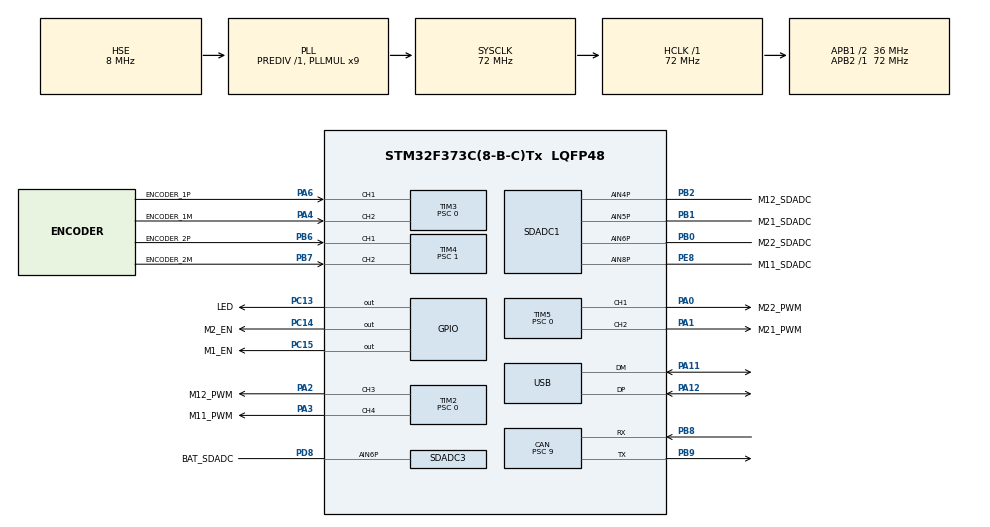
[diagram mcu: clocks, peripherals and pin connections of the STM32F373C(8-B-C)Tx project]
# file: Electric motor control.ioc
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CAN.BS1=CAN_BS1_13TQ
CAN.BS2=CAN_BS2_2TQ
CAN.CalculateTimeQuantum=250.0
CAN.Mode=CAN_MODE_NORMAL
CAN.NART=ENABLE
CAN.Prescaler=9
CAN.SJW=CAN_SJW_2TQ
Dma.Request0=SDADC1
Dma.Request1=SDADC3
Dma.SDADC1.0.Direction=DMA_PERIPH_TO_MEMORY
Dma.SDADC1.0.Instance=DMA2_Channel3
Dma.SDADC1.0.MemDataAlignment=DMA_MDATAALIGN_HALFWORD
Dma.SDADC1.0.MemInc=DMA_MINC_ENABLE
Dma.SDADC1.0.Mode=DMA_CIRCULAR
Dma.SDADC1.0.PeriphDataAlignment=DMA_PDATAALIGN_HALFWORD
Dma.SDADC1.0.PeriphInc=DMA_PINC_DISABLE
Dma.SDADC1.0.Priority=DMA_PRIORITY_LOW
Dma.SDADC3.1.Direction=DMA_PERIPH_TO_MEMORY
Dma.SDADC3.1.Instance=DMA2_Channel5
Dma.SDADC3.1.MemDataAlignment=DMA_MDATAALIGN_HALFWORD
Dma.SDADC3.1.MemInc=DMA_MINC_ENABLE
Dma.SDADC3.1.Mode=DMA_NORMAL
Dma.SDADC3.1.PeriphDataAlignment=DMA_PDATAALIGN_HALFWORD
Dma.SDADC3.1.PeriphInc=DMA_PINC_DISABLE
Dma.SDADC3.1.Priority=DMA_PRIORITY_MEDIUM
FREERTOS.HEAP_NUMBER=4
FREERTOS.Tasks01=defaultTask,0,128,StartDefaultTask,As weak,NULL,Dynamic,NULL,NULL;cliTask,-2,1024,cliStartTask,As weak,NULL,Dynamic,NULL,NULL;pidTask,-1,2048,pidStartTask,As weak,NULL,Dynamic,NULL,NULL;ParserCANTask,-2,256,StartParserCANTask,As weak,NULL,Dynamic,NULL,NULL;CANTxTask,-2,256,StartCANTxTask,As weak,NULL,Dynamic,NULL,NULL;SDADC_Handler,-2,256,StartSDADC_Handler,As weak,NULL,Dynamic,NULL,NULL
FREERTOS.configGENERATE_RUN_TIME_STATS=1
FREERTOS.configTOTAL_HEAP_SIZE=20480
FREERTOS.configUSE_STATS_FORMATTING_FUNCTIONS=1
FREERTOS.configUSE_TRACE_FACILITY=1
Mcu.Family=STM32F3
Mcu.Name=STM32F373C(8-B-C)Tx
Mcu.Package=LQFP48
NVIC.CAN_RX0_IRQn=true\:5\:0\:true\:false\:true\:true\:true\:true
NVIC.DMA2_Channel3_IRQn=true\:5\:0\:false\:false\:true\:true\:false\:true
NVIC.DMA2_Channel5_IRQn=true\:5\:0\:false\:false\:true\:true\:false\:true
NVIC.PriorityGroup=NVIC_PRIORITYGROUP_4
NVIC.TIM17_IRQn=true\:10\:0\:true\:false\:true\:true\:true\:true
NVIC.TIM18_DAC2_IRQn=true\:10\:0\:true\:false\:true\:true\:true\:true
NVIC.TIM6_DAC1_IRQn=true\:0\:0\:false\:false\:true\:false\:false\:true
NVIC.TIM7_IRQn=true\:5\:0\:false\:false\:true\:true\:true\:true
NVIC.TimeBase=TIM6_DAC1_IRQn
NVIC.TimeBaseIP=TIM6
NVIC.USB_LP_IRQn=true\:15\:0\:true\:false\:true\:true\:false\:true
PA0.GPIO_Label=M22_PWM
PA0.Signal=S_TIM5_CH1_ETR
PA1.GPIO_Label=M21_PWM
PA1.Signal=S_TIM5_CH2
PA11.Mode=Device
PA11.Signal=USB_DM
PA12.Mode=Device
PA12.Signal=USB_DP
PA13.Mode=Serial_Wire
PA13.Signal=SYS_JTMS-SWDIO
PA14.Mode=Serial_Wire
PA14.Signal=SYS_JTCK-SWCLK
PA2.GPIO_Label=M12_PWM
PA2.Signal=S_TIM2_CH3
PA3.GPIO_Label=M11_PWM
PA3.Signal=S_TIM2_CH4
PA4.GPIO_Label=ENCODER_1M
PA4.Signal=S_TIM3_CH2
PA6.GPIO_Label=ENCODER_1P
PA6.Signal=S_TIM3_CH1
PB0.GPIO_Label=M22_SDADC
PB0.Mode=IN6-Single-Ended
PB0.Signal=SDADC1_AIN6P
PB1.GPIO_Label=M21_SDADC
PB1.Mode=IN5-Single-Ended
PB1.Signal=SDADC1_AIN5P
PB2.GPIO_Label=M12_SDADC
PB2.Mode=IN4-Single-Ended
PB2.Signal=SDADC1_AIN4P
PB6.GPIO_Label=ENCODER_2P
PB6.GPIO_PuPd=GPIO_NOPULL
PB6.Signal=S_TIM4_CH1
PB7.GPIO_Label=ENCODER_2M
PB7.GPIO_PuPd=GPIO_NOPULL
PB7.Signal=S_TIM4_CH2
PB8.Mode=Master
PB8.Signal=CAN_RX
PB9.Mode=Master
PB9.Signal=CAN_TX
PC13.GPIO_Label=LED
PC13.Signal=GPIO_Output
PC14-OSC32_IN.GPIO_Label=M2_EN
PC14-OSC32_IN.GPIO_Speed=GPIO_SPEED_FREQ_LOW
PC14-OSC32_IN.Signal=GPIO_Output
PC15-OSC32_OUT.GPIO_Label=M1_EN
PC15-OSC32_OUT.Signal=GPIO_Output
PD8.GPIO_Label=BAT_SDADC
PD8.Mode=IN6-Single-Ended
PD8.Signal=SDADC3_AIN6P
PE8.GPIO_Label=M11_SDADC
PE8.Mode=IN8-Single-Ended
PE8.Signal=SDADC1_AIN8P
PF0-OSC_IN.Mode=HSE-External-Oscillator
PF0-OSC_IN.Signal=RCC_OSC_IN
PF1-OSC_OUT.Mode=HSE-External-Oscillator
PF1-OSC_OUT.Signal=RCC_OSC_OUT
ProjectManager.HeapSize=0x200
ProjectManager.StackSize=0x400
ProjectManager.TargetToolchain=EWARM V8.32
RCC.AHBFreq_Value=72000000
RCC.APB1CLKDivider=RCC_HCLK_DIV2
RCC.APB1Freq_Value=36000000
RCC.APB1TimFreq_Value=72000000
RCC.APB2Freq_Value=72000000
RCC.APB2TimFreq_Value=72000000
RCC.CortexFreq_Value=72000000
RCC.HCLKFreq_Value=72000000
RCC.HSE_VALUE=8000000
RCC.HSI_VALUE=8000000
RCC.LSE_VALUE=32768
RCC.PLLMUL=RCC_PLL_MUL9
RCC.PRESCALERUSB=RCC_USBCLKSOURCE_PLL_DIV1_5
RCC.SDADCPresc=RCC_SDADCSYSCLK_DIV12
RCC.SYSCLKFreq_VALUE=72000000
RCC.SYSCLKSource=RCC_SYSCLKSOURCE_PLLCLK
RCC.USBFreq_Value=48000000
SDADC1.EnableInjectedConversion=ENABLE
SDADC1.EnableRegularconversion=DISABLE
SDADC1.Gain0=SDADC_GAIN_1
SDADC1.InjDelay=Disable
SDADC1.InjNumberOfConversion=2
SDADC1.InjectedChannel-5\#ChannelInjectedConversion=SDADC_CHANNEL_5
SDADC1.InjectedChannel-6\#ChannelInjectedConversion=SDADC_CHANNEL_6
SDADC1.InjectedChannelsSelection=SDADC_CHANNEL_5|SDADC_CHANNEL_6
SDADC1.InjectedConfIndex-5\#ChannelInjectedConversion=SDADC_CONF_INDEX_0
SDADC1.InjectedConfIndex-6\#ChannelInjectedConversion=SDADC_CONF_INDEX_0
SDADC1.InjectedContinuousMode=SDADC_CONTINUOUS_CONV_ON
SDADC1.InjectedRank-5\#ChannelInjectedConversion=1
SDADC1.InjectedRank-6\#ChannelInjectedConversion=2
SDADC1.InputMode0=SDADC_INPUT_MODE_SE_OFFSET
SDADC1.NbrOfConversionFlag=1
SDADC3.EnableInjectedConversion=ENABLE
SDADC3.Gain0=SDADC_GAIN_1_2
SDADC3.InjNumberOfConversion=1
SDADC3.InjectedChannel-1\#ChannelInjectedConversion=SDADC_CHANNEL_6
SDADC3.InjectedChannelsSelection=SDADC_CHANNEL_6
SDADC3.InjectedConfIndex-1\#ChannelInjectedConversion=SDADC_CONF_INDEX_0
SDADC3.InjectedContinuousMode=SDADC_CONTINUOUS_CONV_ON
SDADC3.InjectedRank-1\#ChannelInjectedConversion=1
SDADC3.InjectedTrigger=SDADC_SOFTWARE_TRIGGER
SDADC3.InputMode0=SDADC_INPUT_MODE_SE_OFFSET
SDADC3.NbrOfConversionFlag=1
SDADC3.ReferenceVoltage=SDADC_VREF_EXT
SH.S_TIM2_CH3.0=TIM2_CH3,PWM Generation3 CH3
SH.S_TIM2_CH4.0=TIM2_CH4,PWM Generation4 CH4
SH.S_TIM3_CH1.0=TIM3_CH1,Encoder_Interface
SH.S_TIM3_CH2.0=TIM3_CH2,Encoder_Interface
SH.S_TIM4_CH1.0=TIM4_CH1,Encoder_Interface
SH.S_TIM4_CH2.0=TIM4_CH2,Encoder_Interface
SH.S_TIM5_CH1_ETR.0=TIM5_CH1,PWM Generation1 CH1
SH.S_TIM5_CH2.0=TIM5_CH2,PWM Generation2 CH2
TIM17.Period=65500
TIM17.Prescaler=719
TIM18.Period=65500
TIM18.Prescaler=719
TIM2.Channel-PWM\ Generation3\ CH3=TIM_CHANNEL_3
TIM2.Channel-PWM\ Generation4\ CH4=TIM_CHANNEL_4
TIM2.OCFastMode_PWM-PWM\ Generation3\ CH3=TIM_OCFAST_ENABLE
TIM2.OCFastMode_PWM-PWM\ Generation4\ CH4=TIM_OCFAST_ENABLE
TIM2.OCPolarity_3=TIM_OCPOLARITY_LOW
TIM2.OCPolarity_4=TIM_OCPOLARITY_LOW
TIM2.Period=71999
TIM2.Prescaler=0
TIM3.Period=32000
TIM3.Prescaler=0
TIM4.CounterMode=TIM_COUNTERMODE_UP
TIM4.IC1Filter=5
TIM4.IC1Prescaler=TIM_ICPSC_DIV1
TIM4.IC2Filter=5
TIM4.IC2Prescaler=TIM_ICPSC_DIV1
TIM4.Period=0xFFFF
TIM4.Prescaler=1
TIM5.Channel-PWM\ Generation1\ CH1=TIM_CHANNEL_1
TIM5.Channel-PWM\ Generation2\ CH2=TIM_CHANNEL_2
TIM5.OCFastMode_PWM-PWM\ Generation1\ CH1=TIM_OCFAST_ENABLE
TIM5.OCFastMode_PWM-PWM\ Generation2\ CH2=TIM_OCFAST_ENABLE
TIM5.OCPolarity_1=TIM_OCPOLARITY_LOW
TIM5.OCPolarity_2=TIM_OCPOLARITY_LOW
TIM5.Period=71999
TIM5.Prescaler=0
TIM7.Period=10
TIM7.Prescaler=359
USB_DEVICE.CLASS_NAME_FS=CDC
USB_DEVICE.VirtualMode=Cdc
USB_DEVICE.VirtualModeFS=Cdc_FS
VP_FREERTOS_VS_CMSIS_V1.Mode=CMSIS_V1
VP_SDADC1_CONF0.Mode=ConfigZero
VP_SDADC3_CONF0.Mode=ConfigZero
VP_SYS_VS_tim6.Mode=TIM6
VP_TIM17_VS_ClockSourceINT.Mode=Enable_Timer
VP_TIM18_VS_ClockSourceINT.Mode=Enable_Timer
VP_TIM2_VS_ClockSourceINT.Mode=Internal
VP_TIM5_VS_ClockSourceINT.Mode=Internal
VP_TIM7_VS_ClockSourceINT.Mode=Enable_Timer
VP_USB_DEVICE_VS_USB_DEVICE_CDC_FS.Mode=CDC_FS
board=custom

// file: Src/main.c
/* USER CODE BEGIN Header */
/**
  ******************************************************************************
  * @file           : main.c
  * @brief          : Main program body
  ******************************************************************************
  * @attention
  *
  * <h2><center>&copy; Copyright (c) 2020 STMicroelectronics.
  * All rights reserved.</center></h2>
  *
  * This software component is licensed by ST under Ultimate Liberty license
  * SLA0044, the "License"; You may not use this file except in compliance with
  * the License. You may obtain a copy of the License at:
  *                             www.st.com/SLA0044
  *
  ******************************************************************************
  */
/* USER CODE END Header */

#include "main.h"
#include "cmsis_os.h"
#include "usb_device.h"

/* USER CODE BEGIN Includes */
#include "cli.h"
#include "MotorDC.h"
#include "encoder.h"
#include "vbat.h"
#include "pid.h"
/* USER CODE END Includes */

CAN_HandleTypeDef hcan;

SDADC_HandleTypeDef hsdadc1;
SDADC_HandleTypeDef hsdadc3;
DMA_HandleTypeDef hdma_sdadc1;
DMA_HandleTypeDef hdma_sdadc3;

TIM_HandleTypeDef htim2;
TIM_HandleTypeDef htim3;
TIM_HandleTypeDef htim4;
TIM_HandleTypeDef htim5;
TIM_HandleTypeDef htim7;
TIM_HandleTypeDef htim17;
TIM_HandleTypeDef htim18;

osThreadId defaultTaskHandle;
osThreadId cliTaskHandle;
osThreadId pidTaskHandle;
osThreadId ParserCANTaskHandle;
osThreadId CANTxTaskHandle;
osThreadId SDADC_HandlerHandle;
/* USER CODE BEGIN PV */
MotorDCTypeDef MotorRoll;
MotorDCTypeDef MotorPitch;
EncTypeDef EncRoll;
EncTypeDef EncPitch;
vbatTypeDef vbat;
volatile pidTypeDef pidPitch;
volatile pidTypeDef pidRoll;

volatile unsigned long ulHighFrequencyTimerTicks;
/* USER CODE END PV */

void SystemClock_Config(void);
static void MX_GPIO_Init(void);
static void MX_DMA_Init(void);
static void MX_CAN_Init(void);
static void MX_SDADC1_Init(void);
static void MX_SDADC3_Init(void);
static void MX_TIM2_Init(void);
static void MX_TIM3_Init(void);
static void MX_TIM4_Init(void);
static void MX_TIM5_Init(void);
static void MX_TIM7_Init(void);
static void MX_TIM18_Init(void);
static void MX_TIM17_Init(void);
void StartDefaultTask(void const * argument);
void cliStartTask(void const * argument);
void pidStartTask(void const * argument);
void StartParserCANTask(void const * argument);
void StartCANTxTask(void const * argument);
void StartSDADC_Handler(void const * argument);

/* USER CODE BEGIN PFP */
static void MotorDC_Init(void);
static void Encoder_Init(void);
static void VBAT_Init(void);
static void pid_Init(void);
/* USER CODE END PFP */

int main(void)
{

  /* MCU Configuration--------------------------------------------------------*/

  /* Reset of all peripherals, Initializes the Flash interface and the Systick. */
  HAL_Init();

  /* Configure the system clock */
  SystemClock_Config();

  /* Initialize all configured peripherals */
  MX_GPIO_Init();
  MX_DMA_Init();
  MX_CAN_Init();
  MX_SDADC1_Init();
  MX_SDADC3_Init();
  MX_TIM2_Init();
  MX_TIM3_Init();
  MX_TIM4_Init();
  MX_TIM5_Init();
  MX_TIM7_Init();
  MX_TIM18_Init();
  MX_TIM17_Init();
  /* USER CODE BEGIN 2 */
  MotorDC_Init();
  Encoder_Init();
  VBAT_Init();
  pid_Init();

  HAL_TIM_Base_Start_IT(&htim7); // Таймер для счета занятости задачами процессорного времени
  /* USER CODE END 2 */

  /* Create the thread(s) */
  /* definition and creation of defaultTask */
  osThreadDef(defaultTask, StartDefaultTask, osPriorityNormal, 0, 128);
  defaultTaskHandle = osThreadCreate(osThread(defaultTask), NULL);

  /* definition and creation of cliTask */
  osThreadDef(cliTask, cliStartTask, osPriorityLow, 0, 1024);
  cliTaskHandle = osThreadCreate(osThread(cliTask), NULL);

  /* definition and creation of pidTask */
  osThreadDef(pidTask, pidStartTask, osPriorityBelowNormal, 0, 2048);
  pidTaskHandle = osThreadCreate(osThread(pidTask), NULL);

  /* definition and creation of ParserCANTask */
  osThreadDef(ParserCANTask, StartParserCANTask, osPriorityLow, 0, 256);
  ParserCANTaskHandle = osThreadCreate(osThread(ParserCANTask), NULL);

  /* definition and creation of CANTxTask */
  osThreadDef(CANTxTask, StartCANTxTask, osPriorityLow, 0, 256);
  CANTxTaskHandle = osThreadCreate(osThread(CANTxTask), NULL);

  /* definition and creation of SDADC_Handler */
  osThreadDef(SDADC_Handler, StartSDADC_Handler, osPriorityLow, 0, 256);
  SDADC_HandlerHandle = osThreadCreate(osThread(SDADC_Handler), NULL);

  /* USER CODE BEGIN RTOS_THREADS */
  /* add threads, ... */
  HAL_GPIO_TogglePin(LED_GPIO_Port, LED_Pin);
  HAL_Delay(100);
  HAL_GPIO_TogglePin(LED_GPIO_Port, LED_Pin);
  HAL_Delay(100);
  HAL_GPIO_TogglePin(LED_GPIO_Port, LED_Pin);
  HAL_Delay(100);
  HAL_GPIO_TogglePin(LED_GPIO_Port, LED_Pin);
  HAL_Delay(100);
  /* USER CODE END RTOS_THREADS */

  /* Start scheduler */
  osKernelStart();

  /* We should never get here as control is now taken by the scheduler */
  /* Infinite loop */
  while (1)
  {

  }
}

void SystemClock_Config(void)
{
  RCC_OscInitTypeDef RCC_OscInitStruct = {0};
  RCC_ClkInitTypeDef RCC_ClkInitStruct = {0};
  RCC_PeriphCLKInitTypeDef PeriphClkInit = {0};

  /** Initializes the CPU, AHB and APB busses clocks
  */
  RCC_OscInitStruct.OscillatorType = RCC_OSCILLATORTYPE_HSE;
  RCC_OscInitStruct.HSEState = RCC_HSE_ON;
  RCC_OscInitStruct.HSEPredivValue = RCC_HSE_PREDIV_DIV1;
  RCC_OscInitStruct.HSIState = RCC_HSI_ON;
  RCC_OscInitStruct.PLL.PLLState = RCC_PLL_ON;
  RCC_OscInitStruct.PLL.PLLSource = RCC_PLLSOURCE_HSE;
  RCC_OscInitStruct.PLL.PLLMUL = RCC_PLL_MUL9;
  if (HAL_RCC_OscConfig(&RCC_OscInitStruct) != HAL_OK)
  {
    Error_Handler();
  }
  /** Initializes the CPU, AHB and APB busses clocks
  */
  RCC_ClkInitStruct.ClockType = RCC_CLOCKTYPE_HCLK|RCC_CLOCKTYPE_SYSCLK
                              |RCC_CLOCKTYPE_PCLK1|RCC_CLOCKTYPE_PCLK2;
  RCC_ClkInitStruct.SYSCLKSource = RCC_SYSCLKSOURCE_PLLCLK;
  RCC_ClkInitStruct.AHBCLKDivider = RCC_SYSCLK_DIV1;
  RCC_ClkInitStruct.APB1CLKDivider = RCC_HCLK_DIV2;
  RCC_ClkInitStruct.APB2CLKDivider = RCC_HCLK_DIV1;

  if (HAL_RCC_ClockConfig(&RCC_ClkInitStruct, FLASH_LATENCY_2) != HAL_OK)
  {
    Error_Handler();
  }
  PeriphClkInit.PeriphClockSelection = RCC_PERIPHCLK_USB|RCC_PERIPHCLK_SDADC;
  PeriphClkInit.USBClockSelection = RCC_USBCLKSOURCE_PLL_DIV1_5;
  PeriphClkInit.SdadcClockSelection = RCC_SDADCSYSCLK_DIV12;
  if (HAL_RCCEx_PeriphCLKConfig(&PeriphClkInit) != HAL_OK)
  {
    Error_Handler();
  }
  HAL_PWREx_EnableSDADC(PWR_SDADC_ANALOG1);
  HAL_PWREx_EnableSDADC(PWR_SDADC_ANALOG3);
}

static void MX_CAN_Init(void)
{

  hcan.Instance = CAN;
  hcan.Init.Prescaler = 9;
  hcan.Init.Mode = CAN_MODE_NORMAL;
  hcan.Init.SyncJumpWidth = CAN_SJW_2TQ;
  hcan.Init.TimeSeg1 = CAN_BS1_13TQ;
  hcan.Init.TimeSeg2 = CAN_BS2_2TQ;
  hcan.Init.TimeTriggeredMode = DISABLE;
  hcan.Init.AutoBusOff = DISABLE;
  hcan.Init.AutoWakeUp = DISABLE;
  hcan.Init.AutoRetransmission = ENABLE;
  hcan.Init.ReceiveFifoLocked = DISABLE;
  hcan.Init.TransmitFifoPriority = DISABLE;
  if (HAL_CAN_Init(&hcan) != HAL_OK)
  {
    Error_Handler();
  }
  /* USER CODE BEGIN CAN_Init 2 */
  CAN_FilterTypeDef CAN_Filter;
  CAN_Filter.FilterBank = 0;
  CAN_Filter.FilterMode = CAN_FILTERMODE_IDMASK;
  CAN_Filter.FilterScale = CAN_FILTERSCALE_32BIT;
  CAN_Filter.FilterMaskIdHigh = 0x0000;
  CAN_Filter.FilterMaskIdLow = 0x0000;
  CAN_Filter.FilterFIFOAssignment = CAN_RX_FIFO0;
  CAN_Filter.FilterActivation = ENABLE;

  if (HAL_CAN_ConfigFilter(&hcan, &CAN_Filter) != HAL_OK)
  {
    Error_Handler();
  }

  if (HAL_CAN_Start(&hcan) != HAL_OK)
  {
    Error_Handler();
  }

  if (HAL_CAN_ActivateNotification(&hcan, CAN_IT_RX_FIFO0_MSG_PENDING) != HAL_OK)
  {
    Error_Handler();
  }

  /* USER CODE END CAN_Init 2 */

}

static void MX_SDADC1_Init(void)
{

  SDADC_ConfParamTypeDef ConfParamStruct = {0};

  /** Configure the SDADC low power mode, fast conversion mode,
  slow clock mode and SDADC1 reference voltage
  */
  hsdadc1.Instance = SDADC1;
  hsdadc1.Init.IdleLowPowerMode = SDADC_LOWPOWER_NONE;
  hsdadc1.Init.FastConversionMode = SDADC_FAST_CONV_DISABLE;
  hsdadc1.Init.SlowClockMode = SDADC_SLOW_CLOCK_DISABLE;
  hsdadc1.Init.ReferenceVoltage = SDADC_VREF_EXT;
  hsdadc1.InjectedTrigger = SDADC_SOFTWARE_TRIGGER;
  if (HAL_SDADC_Init(&hsdadc1) != HAL_OK)
  {
    Error_Handler();
  }
  /** Configure the Injected Mode
  */
  if (HAL_SDADC_SelectInjectedDelay(&hsdadc1, SDADC_INJECTED_DELAY_NONE) != HAL_OK)
  {
    Error_Handler();
  }
  if (HAL_SDADC_SelectInjectedTrigger(&hsdadc1, SDADC_SOFTWARE_TRIGGER) != HAL_OK)
  {
    Error_Handler();
  }
  if (HAL_SDADC_InjectedConfigChannel(&hsdadc1, SDADC_CHANNEL_5|SDADC_CHANNEL_6, SDADC_CONTINUOUS_CONV_ON) != HAL_OK)
  {
    Error_Handler();
  }
  /** Set parameters for SDADC configuration 0 Register
  */
  ConfParamStruct.InputMode = SDADC_INPUT_MODE_SE_OFFSET;
  ConfParamStruct.Gain = SDADC_GAIN_1;
  ConfParamStruct.CommonMode = SDADC_COMMON_MODE_VSSA;
  ConfParamStruct.Offset = 0;
  if (HAL_SDADC_PrepareChannelConfig(&hsdadc1, SDADC_CONF_INDEX_0, &ConfParamStruct) != HAL_OK)
  {
    Error_Handler();
  }
  /** Configure the Injected Channel
  */
  if (HAL_SDADC_AssociateChannelConfig(&hsdadc1, SDADC_CHANNEL_5, SDADC_CONF_INDEX_0) != HAL_OK)
  {
    Error_Handler();
  }
  /** Configure the Injected Channel
  */
  if (HAL_SDADC_AssociateChannelConfig(&hsdadc1, SDADC_CHANNEL_6, SDADC_CONF_INDEX_0) != HAL_OK)
  {
    Error_Handler();
  }

}

static void MX_SDADC3_Init(void)
{

  SDADC_ConfParamTypeDef ConfParamStruct = {0};

  /** Configure the SDADC low power mode, fast conversion mode,
  slow clock mode and SDADC1 reference voltage
  */
  hsdadc3.Instance = SDADC3;
  hsdadc3.Init.IdleLowPowerMode = SDADC_LOWPOWER_NONE;
  hsdadc3.Init.FastConversionMode = SDADC_FAST_CONV_DISABLE;
  hsdadc3.Init.SlowClockMode = SDADC_SLOW_CLOCK_DISABLE;
  hsdadc3.Init.ReferenceVoltage = SDADC_VREF_EXT;
  hsdadc3.InjectedTrigger = SDADC_SOFTWARE_TRIGGER;
  if (HAL_SDADC_Init(&hsdadc3) != HAL_OK)
  {
    Error_Handler();
  }
  /** Configure the Injected Mode
  */
  if (HAL_SDADC_SelectInjectedDelay(&hsdadc3, SDADC_INJECTED_DELAY_NONE) != HAL_OK)
  {
    Error_Handler();
  }
  if (HAL_SDADC_SelectInjectedTrigger(&hsdadc3, SDADC_SOFTWARE_TRIGGER) != HAL_OK)
  {
    Error_Handler();
  }
  if (HAL_SDADC_InjectedConfigChannel(&hsdadc3, SDADC_CHANNEL_6, SDADC_CONTINUOUS_CONV_ON) != HAL_OK)
  {
    Error_Handler();
  }
  /** Set parameters for SDADC configuration 0 Register
  */
  ConfParamStruct.InputMode = SDADC_INPUT_MODE_SE_OFFSET;
  ConfParamStruct.Gain = SDADC_GAIN_1_2;
  ConfParamStruct.CommonMode = SDADC_COMMON_MODE_VSSA;
  ConfParamStruct.Offset = 0;
  if (HAL_SDADC_PrepareChannelConfig(&hsdadc3, SDADC_CONF_INDEX_0, &ConfParamStruct) != HAL_OK)
  {
    Error_Handler();
  }
  /** Configure the Injected Channel
  */
  if (HAL_SDADC_AssociateChannelConfig(&hsdadc3, SDADC_CHANNEL_6, SDADC_CONF_INDEX_0) != HAL_OK)
  {
    Error_Handler();
  }

}

static void MX_TIM2_Init(void)
{

  TIM_ClockConfigTypeDef sClockSourceConfig = {0};
  TIM_MasterConfigTypeDef sMasterConfig = {0};
  TIM_OC_InitTypeDef sConfigOC = {0};

  htim2.Instance = TIM2;
  htim2.Init.Prescaler = 0;
  htim2.Init.CounterMode = TIM_COUNTERMODE_UP;
  htim2.Init.Period = 71999;
  htim2.Init.ClockDivision = TIM_CLOCKDIVISION_DIV1;
  htim2.Init.AutoReloadPreload = TIM_AUTORELOAD_PRELOAD_DISABLE;
  if (HAL_TIM_Base_Init(&htim2) != HAL_OK)
  {
    Error_Handler();
  }
  sClockSourceConfig.ClockSource = TIM_CLOCKSOURCE_INTERNAL;
  if (HAL_TIM_ConfigClockSource(&htim2, &sClockSourceConfig) != HAL_OK)
  {
    Error_Handler();
  }
  if (HAL_TIM_PWM_Init(&htim2) != HAL_OK)
  {
    Error_Handler();
  }
  sMasterConfig.MasterOutputTrigger = TIM_TRGO_RESET;
  sMasterConfig.MasterSlaveMode = TIM_MASTERSLAVEMODE_DISABLE;
  if (HAL_TIMEx_MasterConfigSynchronization(&htim2, &sMasterConfig) != HAL_OK)
  {
    Error_Handler();
  }
  sConfigOC.OCMode = TIM_OCMODE_PWM1;
  sConfigOC.Pulse = 0;
  sConfigOC.OCPolarity = TIM_OCPOLARITY_LOW;
  sConfigOC.OCFastMode = TIM_OCFAST_ENABLE;
  if (HAL_TIM_PWM_ConfigChannel(&htim2, &sConfigOC, TIM_CHANNEL_3) != HAL_OK)
  {
    Error_Handler();
  }
  if (HAL_TIM_PWM_ConfigChannel(&htim2, &sConfigOC, TIM_CHANNEL_4) != HAL_OK)
  {
    Error_Handler();
  }
  HAL_TIM_MspPostInit(&htim2);

}

static void MX_TIM3_Init(void)
{

  TIM_Encoder_InitTypeDef sConfig = {0};
  TIM_MasterConfigTypeDef sMasterConfig = {0};

  htim3.Instance = TIM3;
  htim3.Init.Prescaler = 0;
  htim3.Init.CounterMode = TIM_COUNTERMODE_UP;
  htim3.Init.Period = 32000;
  htim3.Init.ClockDivision = TIM_CLOCKDIVISION_DIV1;
  htim3.Init.AutoReloadPreload = TIM_AUTORELOAD_PRELOAD_DISABLE;
  sConfig.EncoderMode = TIM_ENCODERMODE_TI1;
  sConfig.IC1Polarity = TIM_ICPOLARITY_RISING;
  sConfig.IC1Selection = TIM_ICSELECTION_DIRECTTI;
  sConfig.IC1Prescaler = TIM_ICPSC_DIV1;
  sConfig.IC1Filter = 0;
  sConfig.IC2Polarity = TIM_ICPOLARITY_RISING;
  sConfig.IC2Selection = TIM_ICSELECTION_DIRECTTI;
  sConfig.IC2Prescaler = TIM_ICPSC_DIV1;
  sConfig.IC2Filter = 0;
  if (HAL_TIM_Encoder_Init(&htim3, &sConfig) != HAL_OK)
  {
    Error_Handler();
  }
  sMasterConfig.MasterOutputTrigger = TIM_TRGO_RESET;
  sMasterConfig.MasterSlaveMode = TIM_MASTERSLAVEMODE_DISABLE;
  if (HAL_TIMEx_MasterConfigSynchronization(&htim3, &sMasterConfig) != HAL_OK)
  {
    Error_Handler();
  }

}

static void MX_TIM4_Init(void)
{

  TIM_Encoder_InitTypeDef sConfig = {0};
  TIM_MasterConfigTypeDef sMasterConfig = {0};

  htim4.Instance = TIM4;
  htim4.Init.Prescaler = 1;
  htim4.Init.CounterMode = TIM_COUNTERMODE_UP;
  htim4.Init.Period = 0xFFFF;
  htim4.Init.ClockDivision = TIM_CLOCKDIVISION_DIV1;
  htim4.Init.AutoReloadPreload = TIM_AUTORELOAD_PRELOAD_DISABLE;
  sConfig.EncoderMode = TIM_ENCODERMODE_TI1;
  sConfig.IC1Polarity = TIM_ICPOLARITY_RISING;
  sConfig.IC1Selection = TIM_ICSELECTION_DIRECTTI;
  sConfig.IC1Prescaler = TIM_ICPSC_DIV1;
  sConfig.IC1Filter = 5;
  sConfig.IC2Polarity = TIM_ICPOLARITY_RISING;
  sConfig.IC2Selection = TIM_ICSELECTION_DIRECTTI;
  sConfig.IC2Prescaler = TIM_ICPSC_DIV1;
  sConfig.IC2Filter = 5;
  if (HAL_TIM_Encoder_Init(&htim4, &sConfig) != HAL_OK)
  {
    Error_Handler();
  }
  sMasterConfig.MasterOutputTrigger = TIM_TRGO_RESET;
  sMasterConfig.MasterSlaveMode = TIM_MASTERSLAVEMODE_DISABLE;
  if (HAL_TIMEx_MasterConfigSynchronization(&htim4, &sMasterConfig) != HAL_OK)
  {
    Error_Handler();
  }

}

static void MX_TIM5_Init(void)
{

  TIM_ClockConfigTypeDef sClockSourceConfig = {0};
  TIM_MasterConfigTypeDef sMasterConfig = {0};
  TIM_OC_InitTypeDef sConfigOC = {0};

  htim5.Instance = TIM5;
  htim5.Init.Prescaler = 0;
  htim5.Init.CounterMode = TIM_COUNTERMODE_UP;
  htim5.Init.Period = 71999;
  htim5.Init.ClockDivision = TIM_CLOCKDIVISION_DIV1;
  htim5.Init.AutoReloadPreload = TIM_AUTORELOAD_PRELOAD_DISABLE;
  if (HAL_TIM_Base_Init(&htim5) != HAL_OK)
  {
    Error_Handler();
  }
  sClockSourceConfig.ClockSource = TIM_CLOCKSOURCE_INTERNAL;
  if (HAL_TIM_ConfigClockSource(&htim5, &sClockSourceConfig) != HAL_OK)
  {
    Error_Handler();
  }
  if (HAL_TIM_PWM_Init(&htim5) != HAL_OK)
  {
    Error_Handler();
  }
  sMasterConfig.MasterOutputTrigger = TIM_TRGO_RESET;
  sMasterConfig.MasterSlaveMode = TIM_MASTERSLAVEMODE_DISABLE;
  if (HAL_TIMEx_MasterConfigSynchronization(&htim5, &sMasterConfig) != HAL_OK)
  {
    Error_Handler();
  }
  sConfigOC.OCMode = TIM_OCMODE_PWM1;
  sConfigOC.Pulse = 0;
  sConfigOC.OCPolarity = TIM_OCPOLARITY_LOW;
  sConfigOC.OCFastMode = TIM_OCFAST_ENABLE;
  if (HAL_TIM_PWM_ConfigChannel(&htim5, &sConfigOC, TIM_CHANNEL_1) != HAL_OK)
  {
    Error_Handler();
  }
  if (HAL_TIM_PWM_ConfigChannel(&htim5, &sConfigOC, TIM_CHANNEL_2) != HAL_OK)
  {
    Error_Handler();
  }
  HAL_TIM_MspPostInit(&htim5);

}

static void MX_TIM7_Init(void)
{

  TIM_MasterConfigTypeDef sMasterConfig = {0};

  htim7.Instance = TIM7;
  htim7.Init.Prescaler = 359;
  htim7.Init.CounterMode = TIM_COUNTERMODE_UP;
  htim7.Init.Period = 10;
  htim7.Init.AutoReloadPreload = TIM_AUTORELOAD_PRELOAD_DISABLE;
  if (HAL_TIM_Base_Init(&htim7) != HAL_OK)
  {
    Error_Handler();
  }
  sMasterConfig.MasterOutputTrigger = TIM_TRGO_RESET;
  sMasterConfig.MasterSlaveMode = TIM_MASTERSLAVEMODE_DISABLE;
  if (HAL_TIMEx_MasterConfigSynchronization(&htim7, &sMasterConfig) != HAL_OK)
  {
    Error_Handler();
  }

}

static void MX_TIM17_Init(void)
{

  htim17.Instance = TIM17;
  htim17.Init.Prescaler = 719;
  htim17.Init.CounterMode = TIM_COUNTERMODE_UP;
  htim17.Init.Period = 65500;
  htim17.Init.ClockDivision = TIM_CLOCKDIVISION_DIV1;
  htim17.Init.RepetitionCounter = 0;
  htim17.Init.AutoReloadPreload = TIM_AUTORELOAD_PRELOAD_DISABLE;
  if (HAL_TIM_Base_Init(&htim17) != HAL_OK)
  {
    Error_Handler();
  }

}

static void MX_TIM18_Init(void)
{

  TIM_MasterConfigTypeDef sMasterConfig = {0};

  htim18.Instance = TIM18;
  htim18.Init.Prescaler = 719;
  htim18.Init.CounterMode = TIM_COUNTERMODE_UP;
  htim18.Init.Period = 65500;
  htim18.Init.AutoReloadPreload = TIM_AUTORELOAD_PRELOAD_DISABLE;
  if (HAL_TIM_Base_Init(&htim18) != HAL_OK)
  {
    Error_Handler();
  }
  sMasterConfig.MasterOutputTrigger = TIM_TRGO_RESET;
  sMasterConfig.MasterSlaveMode = TIM_MASTERSLAVEMODE_DISABLE;
  if (HAL_TIMEx_MasterConfigSynchronization(&htim18, &sMasterConfig) != HAL_OK)
  {
    Error_Handler();
  }

}

static void MX_DMA_Init(void)
{

  /* DMA controller clock enable */
  __HAL_RCC_DMA2_CLK_ENABLE();

  /* DMA interrupt init */
  /* DMA2_Channel3_IRQn interrupt configuration */
  HAL_NVIC_SetPriority(DMA2_Channel3_IRQn, 5, 0);
  HAL_NVIC_EnableIRQ(DMA2_Channel3_IRQn);
  /* DMA2_Channel5_IRQn interrupt configuration */
  HAL_NVIC_SetPriority(DMA2_Channel5_IRQn, 5, 0);
  HAL_NVIC_EnableIRQ(DMA2_Channel5_IRQn);

}

static void MX_GPIO_Init(void)
{
  GPIO_InitTypeDef GPIO_InitStruct = {0};

  /* GPIO Ports Clock Enable */
  __HAL_RCC_GPIOC_CLK_ENABLE();
  __HAL_RCC_GPIOF_CLK_ENABLE();
  __HAL_RCC_GPIOA_CLK_ENABLE();
  __HAL_RCC_GPIOB_CLK_ENABLE();
  __HAL_RCC_GPIOE_CLK_ENABLE();
  __HAL_RCC_GPIOD_CLK_ENABLE();

  /*Configure GPIO pin Output Level */
  HAL_GPIO_WritePin(GPIOC, LED_Pin|M2_EN_Pin|M1_EN_Pin, GPIO_PIN_RESET);

  /*Configure GPIO pins : LED_Pin M2_EN_Pin M1_EN_Pin */
  GPIO_InitStruct.Pin = LED_Pin|M2_EN_Pin|M1_EN_Pin;
  GPIO_InitStruct.Mode = GPIO_MODE_OUTPUT_PP;
  GPIO_InitStruct.Pull = GPIO_NOPULL;
  GPIO_InitStruct.Speed = GPIO_SPEED_FREQ_LOW;
  HAL_GPIO_Init(GPIOC, &GPIO_InitStruct);

}

/* USER CODE BEGIN 4 */

/**
  * @brief  Motor initialization
  * @note   This function is
  * @retval None
  */
void MotorDC_Init(void)
{
  MotorRoll.htim = &htim2;
  MotorRoll.PWM_ChannelFirst = TIM_CHANNEL_3;
  MotorRoll.PWM_ChannelSnd = TIM_CHANNEL_4;
  MotorRoll.DirOfRot = 0;
  MotorRoll.pulse = 0;
  MotorRoll.port = M1_EN_GPIO_Port;
  MotorRoll.pin = M1_EN_Pin;

  MotorPitch.htim = &htim5;
  MotorPitch.PWM_ChannelFirst = TIM_CHANNEL_2;
  MotorPitch.PWM_ChannelSnd = TIM_CHANNEL_1;
  MotorPitch.DirOfRot = 0;
  MotorPitch.pulse = 0;
  MotorPitch.port = M2_EN_GPIO_Port;
  MotorPitch.pin = M2_EN_Pin;
}
/**
  * @brief  Encoder initialization
  * @note   This function is
  * @retval None
  */
void Encoder_Init(void)
{
  EncRoll.htim = &htim3;
  EncRoll.channel = TIM_CHANNEL_1;
  EncRoll.zero = 16000;
  SetZero(&EncRoll);
  HAL_TIM_Encoder_Start(EncRoll.htim, EncRoll.channel);

  EncPitch.htim = &htim4;
  EncPitch.channel = TIM_CHANNEL_1;
  EncPitch.zero = 25000;
  SetZero(&EncPitch);
  HAL_TIM_Encoder_Start(EncPitch.htim, EncPitch.channel);
}
/**
  * @brief  VBAT voltmeter initialization
  * @note   This function is
  * @retval None
  */
void VBAT_Init(void)
{
  vbat.hsdadc = &hsdadc3;
  vbat.channel = SDADC_CHANNEL_6;
  vbat.k = 0.00086138;
  vbat.b = 0;

  HAL_SDADC_CalibrationStart(vbat.hsdadc, SDADC_CALIBRATION_SEQ_1);
  if (HAL_SDADC_PollForCalibEvent(vbat.hsdadc, 1000) != HAL_OK)
  {
    Error_Handler();
  }

  if (HAL_SDADC_InjectedStart(vbat.hsdadc) != HAL_OK)
  {
    Error_Handler();
  }
}

void pid_Init(void)
{
  /*PITCH*/

  pidPitch.integral = 0; /*�?нтеграл ошибки рассогласования*/

  pidPitch.epsilon = 0;     /* Ошибка рассогласования*/
  pidPitch.epsilonPrev = 0; /* Ошибка рассогласования предыдущая*/
  pidPitch.dt = 0;          /* Шаг времени*/

  pidPitch.ProcessVal = 0; /* Текущее значение датчика*/

  pidPitch.SetPoint = 0; /* Уставка*/

  pidPitch.ManipulVal = 0; /* Управляющий сигнал (от 0 до 100%)*/
  pidPitch.DirOfRot = 0;   /*Направление вращения. Если 0 - прямое, > 0 - обратное*/

  pidPitch.htim = &htim18;
  HAL_TIM_Base_Start(&htim18);

  /*ROLL*/

  pidRoll.integral = 0; /*�?нтеграл ошибки рассогласования*/

  pidRoll.epsilon = 0;     /* Ошибка рассогласования*/
  pidRoll.epsilonPrev = 0; /* Ошибка рассогласования предыдущая*/
  pidRoll.dt = 0;          /* Шаг времени*/

  pidRoll.ProcessVal = 0; /* Текущее значение датчика*/

  pidRoll.SetPoint = 0; /* Уставка*/

  pidRoll.ManipulVal = 0; /* Управляющий сигнал (от 0 до 100%)*/
  pidRoll.DirOfRot = 0;   /*Направление вращения. Если 0 - прямое, > 0 - обратное*/

  pidRoll.htim = &htim17;
  HAL_TIM_Base_Start(&htim17);

  uint16_t * Address = (uint16_t *)FlashStartAdress;
  int16_t var;
  memcpy(&var,Address,sizeof(int16_t)); /* Минимальная уставка*/
  pidPitch.MinSetPoint = var;

  memcpy(&var,Address + 1,sizeof(int16_t));
  pidPitch.MaxSetPoint = var; /* Максимальная уставка*/

  memcpy(&var,Address + 2,sizeof(int16_t));
  pidRoll.MinSetPoint = var; /* Минимальная уставка*/

  memcpy(&var,Address + 3,sizeof(int16_t));
  pidRoll.MaxSetPoint = var; /* Максимальная уставка*/
}
/* USER CODE END 4 */

__weak void StartDefaultTask(void const * argument)
{
  /* init code for USB_DEVICE */
  MX_USB_DEVICE_Init();
  /* USER CODE BEGIN 5 */
  /* Infinite loop */
  for (;;)
  {
    osDelay(300);
  }
  /* USER CODE END 5 */
}

__weak void cliStartTask(void const * argument)
{
  for (;;)
  {
  }
}

__weak void pidStartTask(void const * argument)
{
  for (;;)
  {
  }
}

__weak void StartParserCANTask(void const * argument)
{
  for(;;)
  {
    osDelay(1);
  }
}

__weak void StartCANTxTask(void const * argument)
{
  for(;;)
  {
    osDelay(1);
  }
}

__weak void StartSDADC_Handler(void const * argument)
{
  for(;;)
  {
    osDelay(1);
  }
}

 /**
  * @brief  Period elapsed callback in non blocking mode
  * @note   This function is called  when TIM6 interrupt took place, inside
  * HAL_TIM_IRQHandler(). It makes a direct call to HAL_IncTick() to increment
  * a global variable "uwTick" used as application time base.
  * @param  htim : TIM handle
  * @retval None
  */
void HAL_TIM_PeriodElapsedCallback(TIM_HandleTypeDef *htim)
{
  if (htim->Instance == TIM6) {
    HAL_IncTick();
  }
  /* USER CODE BEGIN Callback 1 */
  if (htim->Instance == TIM7) // Таймер для счета занятости задачами процессорного времени
  {
    ulHighFrequencyTimerTicks++;
  }

  if (htim->Instance == pidPitch.htim->Instance) // Если таймер П�?Да досчитал до максимального значения
  {
    pid_Init();
  }

  if (htim->Instance == pidRoll.htim->Instance) // Если таймер П�?Да досчитал до максимального значения
  {
    pid_Init();
  }

  /* USER CODE END Callback 1 */
}

void Error_Handler(void)
{
  /* USER CODE BEGIN Error_Handler_Debug */
  /* User can add his own implementation to report the HAL error return state */
  /*HAL_GPIO_TogglePin(LED_GPIO_Port, LED_Pin);
  HAL_Delay(100);
  HAL_GPIO_TogglePin(LED_GPIO_Port, LED_Pin);
  HAL_Delay(100);
  HAL_GPIO_TogglePin(LED_GPIO_Port, LED_Pin);
  HAL_Delay(100);
  HAL_GPIO_TogglePin(LED_GPIO_Port, LED_Pin);
  */
  /* USER CODE END Error_Handler_Debug */
}

/************************ (C) COPYRIGHT STMicroelectronics *****END OF FILE****/

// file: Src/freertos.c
/* USER CODE BEGIN Header */
/**
  ******************************************************************************
  * File Name          : freertos.c
  * Description        : Code for freertos applications
  ******************************************************************************
  * @attention
  *
  * <h2><center>&copy; Copyright (c) 2020 STMicroelectronics.
  * All rights reserved.</center></h2>
  *
  * This software component is licensed by ST under Ultimate Liberty license
  * SLA0044, the "License"; You may not use this file except in compliance with
  * the License. You may obtain a copy of the License at:
  *                             www.st.com/SLA0044
  *
  ******************************************************************************
  */
/* USER CODE END Header */

#include "FreeRTOS.h"
#include "task.h"
#include "main.h"

/* USER CODE BEGIN Includes */
#include "cmsis_os.h"
#include "arm_math.h"
#include "usb_device.h"
#include "cli.h"
#include "MotorDC.h"
#include "encoder.h"
#include "vbat.h"
#include "pid.h"

#include "prothawk.h"
/* USER CODE END Includes */

/* USER CODE BEGIN Variables */
extern unsigned long ulHighFrequencyTimerTicks;

xQueueHandle CANReceiveQueueHandle = NULL; // Очередь для приема байт из CAN

uint8_t state = TrackingState; // Режим работы
uint8_t PidMode = LOWMODE;     // Режим ПИД регулятора
/* USER CODE END Variables */

/* GetIdleTaskMemory prototype (linked to static allocation support) */
void vApplicationGetIdleTaskMemory(StaticTask_t **ppxIdleTaskTCBBuffer, StackType_t **ppxIdleTaskStackBuffer, uint32_t *pulIdleTaskStackSize);

/* Hook prototypes */
void configureTimerForRunTimeStats(void);
unsigned long getRunTimeCounterValue(void);

/* USER CODE BEGIN 1 */
/* Functions needed when configGENERATE_RUN_TIME_STATS is on */
__weak void configureTimerForRunTimeStats(void)
{
  ulHighFrequencyTimerTicks = 0UL;
}

__weak unsigned long getRunTimeCounterValue(void)
{
  return ulHighFrequencyTimerTicks;
}
/* USER CODE END 1 */

/* USER CODE BEGIN GET_IDLE_TASK_MEMORY */
static StaticTask_t xIdleTaskTCBBuffer;
static StackType_t xIdleStack[configMINIMAL_STACK_SIZE];

void vApplicationGetIdleTaskMemory(StaticTask_t **ppxIdleTaskTCBBuffer, StackType_t **ppxIdleTaskStackBuffer, uint32_t *pulIdleTaskStackSize)
{
  *ppxIdleTaskTCBBuffer = &xIdleTaskTCBBuffer;
  *ppxIdleTaskStackBuffer = &xIdleStack[0];
  *pulIdleTaskStackSize = configMINIMAL_STACK_SIZE;
  /* place for user code */
}
/* USER CODE END GET_IDLE_TASK_MEMORY */

/* USER CODE BEGIN Application */
/* USER CODE BEGIN Header_StartDefaultTask */
/**
  * @brief  Function implementing the defaultTask thread.
  * @param  argument: Not used
  * @retval None
  */
/* USER CODE END Header_StartDefaultTask */
void StartDefaultTask(void const *argument)
{
  /* init code for USB_DEVICE */
  MX_USB_DEVICE_Init();
  /* USER CODE BEGIN 5 */
  CANReceiveQueueHandle = xQueueCreate(8, 8);

  /* Infinite loop */
  for (;;)
  {

    vTaskDelay(500);
  }
  /* USER CODE END 5 */
}
/**
* @brief Function implementing the cliTask thread.
* @param argument: Not used
* @retval None
*/
void cliStartTask(void const *argument)
{
  /* USER CODE BEGIN cliStartTask */
  extern SemaphoreHandle_t CliMutex;
  CliMutex = xSemaphoreCreateMutex();
  /* Infinite loop */
  for (;;)
  {
    DBG_CLI_USB_Task();
    vTaskDelay(10);
  }
}
/**
* @brief Function implementing the pidTask thread.
* @param argument: Not used
* @retval None
*/
/* USER CODE END Header_pidStartTask */
void pidStartTask(void const *argument)
{
  /* USER CODE BEGIN pidStartTask */

  extern MotorDCTypeDef MotorRoll;
  extern MotorDCTypeDef MotorPitch;
  extern EncTypeDef EncRoll;
  extern EncTypeDef EncPitch;
  extern pidTypeDef pidPitch;
  extern pidTypeDef pidRoll;

  /* Infinite loop */
  for (;;)
  {
    if ((pidRoll.MaxSetPoint == 0xFFFF) | (pidRoll.MinSetPoint == 0xFFFF) | (pidPitch.MaxSetPoint == 0xFFFF) | (pidPitch.MinSetPoint == 0xFFFF))
    {
      state = CLIState;
    }
    switch (state)
    {
    case TrackingState:
      switch (PidMode)
      {
      case HIGHMODE:
        pidPitch.Kp = 0.03f;
        pidPitch.Ki = 0.00007f;
        pidPitch.Kd = 0.0f;

        pidRoll.Kp = 0.2f;
        pidRoll.Ki = 0.000084f;
        pidRoll.Kd = 15.5f;
        break;
      case MIDDLEMODE:
        pidPitch.Kp = 0.01f;
        pidPitch.Ki = 0.00f;
        pidPitch.Kd = 0.0f;

        pidRoll.Kp = 0.1f;
        pidRoll.Ki = 0.0f;
        pidRoll.Kd = 0.0f;
        break;
      case LOWMODE:
        pidPitch.Kp = 0.005f;
        pidPitch.Ki = 0.00f;
        pidPitch.Kd = 0.0f;

        pidRoll.Kp = 0.05f;
        pidRoll.Ki = 0.00002f;
        pidRoll.Kd = 4.0f;
        break;
      default:
        pidPitch.Kp = 0.005f;
        pidPitch.Ki = 0.00f;
        pidPitch.Kd = 0.0f;

        pidRoll.Kp = 0.05f;
        pidRoll.Ki = 0.00002f;
        pidRoll.Kd = 4.0f;
        break;
      }
      taskENTER_CRITICAL();
      pidPitch.ProcessVal = GetEnc(&EncPitch);
      pidUpdate(&pidPitch);
      MotorPitch.DirOfRot = pidPitch.DirOfRot;
      MotorPitch.pulse = pidPitch.ManipulVal;
      rotation(&MotorPitch);
      taskEXIT_CRITICAL();

      taskENTER_CRITICAL();
      pidRoll.ProcessVal = GetEnc(&EncRoll);
      pidUpdate(&pidRoll);
      MotorRoll.DirOfRot = pidRoll.DirOfRot;
      MotorRoll.pulse = pidRoll.ManipulVal;
      rotation(&MotorRoll);

      taskEXIT_CRITICAL();
      break;
    case TestState:
      pidPitch.ProcessVal = GetEnc(&EncPitch);
      pidRoll.ProcessVal = GetEnc(&EncRoll);
      StopRotation(&MotorPitch);
      StopRotation(&MotorRoll);
      break;
    case CLIState:
      pidPitch.ProcessVal = GetEnc(&EncPitch);
      pidRoll.ProcessVal = GetEnc(&EncRoll);
      break;
    default:
      pidPitch.ProcessVal = GetEnc(&EncPitch);
      pidRoll.ProcessVal = GetEnc(&EncRoll);
      break;
    }
    vTaskDelay(10); //???????
  }
}
/* USER CODE BEGIN Header_StartParserCANTask */
/**
* @brief Function implementing the ParserCANTask thread.
* @param argument: Not used
* @retval None
*/
/* USER CODE END Header_StartParserCANTask */
void StartParserCANTask(void const *argument)
{
  /* USER CODE BEGIN StartParserCANTask */
  uint8_t buf[8];
  extern pidTypeDef pidRoll;
  extern pidTypeDef pidPitch;
  extern EncTypeDef EncRoll;
  extern EncTypeDef EncPitch;

  extern CAN_HandleTypeDef hcan;
  uint32_t TxMailBox; //= CAN_TX_MAILBOX0;
  CAN_TxHeaderTypeDef TxHeader;
  uint8_t buftx[8];

  // Передача на блок управления приводами
  TxHeader.DLC = 8;
  TxHeader.StdId = 0x0000;
  TxHeader.RTR = CAN_RTR_DATA;
  TxHeader.IDE = CAN_ID_STD;
  TxHeader.TransmitGlobalTime = DISABLE;

  /* Infinite loop */
  for (;;)
  {
    if (CANReceiveQueueHandle != NULL)
    {
      if (xQueueReceive(CANReceiveQueueHandle,
                        buf,
                        (TickType_t)0) == pdPASS)
      {
        /* *pxRxedPointer now points to xMessage. */
      }
      switch (buf[0])
      {
      case PitchRollCommand:
        memcpy(&pidPitch.SetPoint, &buf[1], sizeof(pidPitch.SetPoint));
        memcpy(&pidRoll.SetPoint, &buf[3], sizeof(pidRoll.SetPoint));
        memcpy(&PidMode, &buf[5], sizeof(pidRoll.SetPoint));
        break;
      case TestMode:
        state = TestState;
        taskENTER_CRITICAL();
        buftx[0] = TestMode;
        if (HAL_CAN_AddTxMessage(&hcan, &TxHeader, buftx, &TxMailBox) != HAL_OK)
        {
        }
        taskEXIT_CRITICAL();
        break;
      case CalibComplied:
        SetZero(&EncPitch);
        SetZero(&EncRoll);
        state = TrackingState;
        // Запись значений во флэш
        uint32_t Address = FlashStartAdress;
        HAL_FLASH_Unlock();
        HAL_FLASH_Program(FLASH_TYPEPROGRAM_HALFWORD, Address, pidPitch.MinSetPoint);
        HAL_FLASH_Program(FLASH_TYPEPROGRAM_HALFWORD, Address + 2U, pidPitch.MaxSetPoint);
        HAL_FLASH_Program(FLASH_TYPEPROGRAM_HALFWORD, Address + 4U, pidRoll.MinSetPoint);
        HAL_FLASH_Program(FLASH_TYPEPROGRAM_HALFWORD, Address + 6U, pidRoll.MaxSetPoint);
        HAL_FLASH_Lock();

        buftx[0] = CalibComplied;
        taskENTER_CRITICAL();
        if (HAL_CAN_AddTxMessage(&hcan, &TxHeader, buftx, &TxMailBox) != HAL_OK)
        {
        }
        taskEXIT_CRITICAL();
        break;
      case PitchMinMax:
        memcpy(&pidPitch.MinSetPoint, &buf[1], sizeof(pidPitch.MinSetPoint));
        memcpy(&pidPitch.MaxSetPoint, &buf[3], sizeof(pidPitch.MaxSetPoint));
        break;
      case RollMinMax:
        memcpy(&pidRoll.MinSetPoint, &buf[1], sizeof(pidRoll.MinSetPoint));
        memcpy(&pidRoll.MaxSetPoint, &buf[3], sizeof(pidRoll.MaxSetPoint));
        break;
      default:
        memset(buf, 0x00, sizeof(buf)); // Очистить буфер
        break;
      }
    }
    memset(buf, 0x00, sizeof(buf)); // Очистить буфер
    vTaskDelay(1);
  }
  /* USER CODE END StartParserCANTask */
}
/*
*
*
*
*/
void HAL_CAN_RxFifo0MsgPendingCallback(CAN_HandleTypeDef *hcan)
{
  uint8_t buf[8];
  CAN_RxHeaderTypeDef RxHeader;

  BaseType_t xHigherPriorityTaskWoken;
  xHigherPriorityTaskWoken = pdFALSE;

  if (HAL_CAN_GetRxMessage(hcan, CAN_RX_FIFO0, &RxHeader, buf) != HAL_OK)
  {
    //Ошибка
  }
  else
  {
    if (CANReceiveQueueHandle != NULL)
    {
      xQueueSendToBackFromISR(CANReceiveQueueHandle,
                              (void *)buf,
                              &xHigherPriorityTaskWoken);
    }
  }
}
/* USER CODE BEGIN Header_StartCANTxTask */
/**
* @brief Function implementing the CANTxTask thread.
* @param argument: Not used
* @retval None
*/
/* USER CODE END Header_StartCANTxTask */
void StartCANTxTask(void const *argument)
{
  /* USER CODE BEGIN StartCANTxTask */
  extern pidTypeDef pidPitch;
  extern pidTypeDef pidRoll;
  extern vbatTypeDef vbat;
  extern MotorDCTypeDef MotorPitch;

  extern CAN_HandleTypeDef hcan;
  uint32_t TxMailBox; //= CAN_TX_MAILBOX0;
  CAN_TxHeaderTypeDef TxHeader;
  uint8_t buftx[8];
  float voltage = 0.0;
  /* Infinite loop */
  for (;;)
  {
    // Считывание значения напряжения аккумулятора
    voltage = GetVoltageBat(&vbat);
    // Передача на блок управления приводами
    TxHeader.DLC = 5;
    TxHeader.StdId = 0x0000;
    TxHeader.RTR = CAN_RTR_DATA;
    TxHeader.IDE = CAN_ID_STD;
    TxHeader.TransmitGlobalTime = DISABLE;

    buftx[0] = PitchRollCommand;
    buftx[1] = (uint8_t)(pidPitch.ProcessVal & 0xFF);
    buftx[2] = (uint8_t)(pidPitch.ProcessVal >> 8);
    buftx[3] = (uint8_t)(pidRoll.ProcessVal & 0xFF);
    buftx[4] = (uint8_t)(pidRoll.ProcessVal >> 8);

    taskENTER_CRITICAL();
    if (HAL_CAN_AddTxMessage(&hcan, &TxHeader, buftx, &TxMailBox) != HAL_OK)
    {
      //Error_Handler();
    }
    taskEXIT_CRITICAL();

    vTaskDelay(10);

    buftx[0] = PitchMinMax;
    buftx[1] = (uint8_t)(pidPitch.MinSetPoint & 0xFF);
    buftx[2] = (uint8_t)(pidPitch.MinSetPoint >> 8);
    buftx[3] = (uint8_t)(pidPitch.MaxSetPoint & 0xFF);
    buftx[4] = (uint8_t)(pidPitch.MaxSetPoint >> 8);

    taskENTER_CRITICAL();
    if (HAL_CAN_AddTxMessage(&hcan, &TxHeader, buftx, &TxMailBox) != HAL_OK)
    {
      //Error_Handler();
    }
    taskEXIT_CRITICAL();

    vTaskDelay(10);

    buftx[0] = RollMinMax;
    buftx[1] = (uint8_t)(pidRoll.MinSetPoint & 0xFF);
    buftx[2] = (uint8_t)(pidRoll.MinSetPoint >> 8);
    buftx[3] = (uint8_t)(pidRoll.MaxSetPoint & 0xFF);
    buftx[4] = (uint8_t)(pidRoll.MaxSetPoint >> 8);

    taskENTER_CRITICAL();
    if (HAL_CAN_AddTxMessage(&hcan, &TxHeader, buftx, &TxMailBox) != HAL_OK)
    {
      //Error_Handler();
    }
    taskEXIT_CRITICAL();
    vTaskDelay(10);

    buftx[0] = VBATCommand;
    memcpy(&buftx[1], &voltage, sizeof(voltage));

    taskENTER_CRITICAL();
    if (HAL_CAN_AddTxMessage(&hcan, &TxHeader, buftx, &TxMailBox) != HAL_OK)
    {
      //Error_Handler();
    }
    taskEXIT_CRITICAL();
    vTaskDelay(10);

    buftx[0] = PitchForceCommand;
    memcpy(&buftx[1], &MotorPitch.torque, sizeof(MotorPitch.torque));

    taskENTER_CRITICAL();
    if (HAL_CAN_AddTxMessage(&hcan, &TxHeader, buftx, &TxMailBox) != HAL_OK)
    {
      //Error_Handler();
    }
    taskEXIT_CRITICAL();
    vTaskDelay(10);
  }
  /* USER CODE END StartCANTxTask */
}
/* USER CODE BEGIN Header_StartSDADC_Handler */
/**
* @brief Обработчик массива данных от сигма-дельта АЦП
* @param argument: Not used
* @retval None
*/
/* USER CODE END Header_StartSDADC_Handler */
void StartSDADC_Handler(void const *argument)
{

  /* USER CODE BEGIN StartSDADC_Handler */
  extern SDADC_HandleTypeDef hsdadc1;
  extern DMA_HandleTypeDef hdma_sdadc1;
  extern MotorDCTypeDef MotorPitch;
#define SIZE_DATA 128

  volatile int16_t data[SIZE_DATA] = {
      0x00,
  };
  float sum_sqrt;
  HAL_SDADC_CalibrationStart(&hsdadc1, SDADC_CALIBRATION_SEQ_1);
  if (HAL_SDADC_PollForCalibEvent(&hsdadc1, 500) != HAL_OK)
  {
    // Error
  }

  if (HAL_SDADC_InjectedStart_DMA(&hsdadc1, (uint32_t *)data, SIZE_DATA) != HAL_OK)
  {
    // Error
  }
  /* Infinite loop */
  for (;;)
  {
    vTaskDelay(5);
    HAL_SDADC_InjectedStop_DMA(&hsdadc1);

    uint64_t sum = 0;
    uint8_t i;
    if (MotorPitch.DirOfRot == DIRECT_ROTATION)
    {
      for (i = 0; i <= SIZE_DATA; i += 2)
      {
        sum += data[i] * data[i];
      }
      sum_sqrt = sum * 2 / (float)SIZE_DATA;
      arm_sqrt_f32(sum_sqrt, &MotorPitch.torque);
      if (MotorPitch.torque > 200)
      {
        MotorPitch.torque -= 2675;
        MotorPitch.torque *= 0.003;
      }
      else
      {
        MotorPitch.torque = 0.0;
      }
    }
    else
    {
      for (i = 1; i < SIZE_DATA; i += 2)
      {
        sum += data[i] * data[i];
      }
      sum_sqrt = sum * 2 / (float)SIZE_DATA;
      arm_sqrt_f32(sum_sqrt, &MotorPitch.torque);
      if (MotorPitch.torque > 200)
      {
        MotorPitch.torque -= 2036;
        MotorPitch.torque *= 0.004659;
        MotorPitch.torque *= -1.0;
      }
      else
      {
        MotorPitch.torque = 0.0;
      }
    }

    if (HAL_SDADC_InjectedStart_DMA(&hsdadc1, (uint32_t *)data, SIZE_DATA) != HAL_OK)
    {
      // Error
    }
  }
  /* USER CODE END StartSDADC_Handler */
}
/* USER CODE END Application */

/************************ (C) COPYRIGHT STMicroelectronics *****END OF FILE****/
